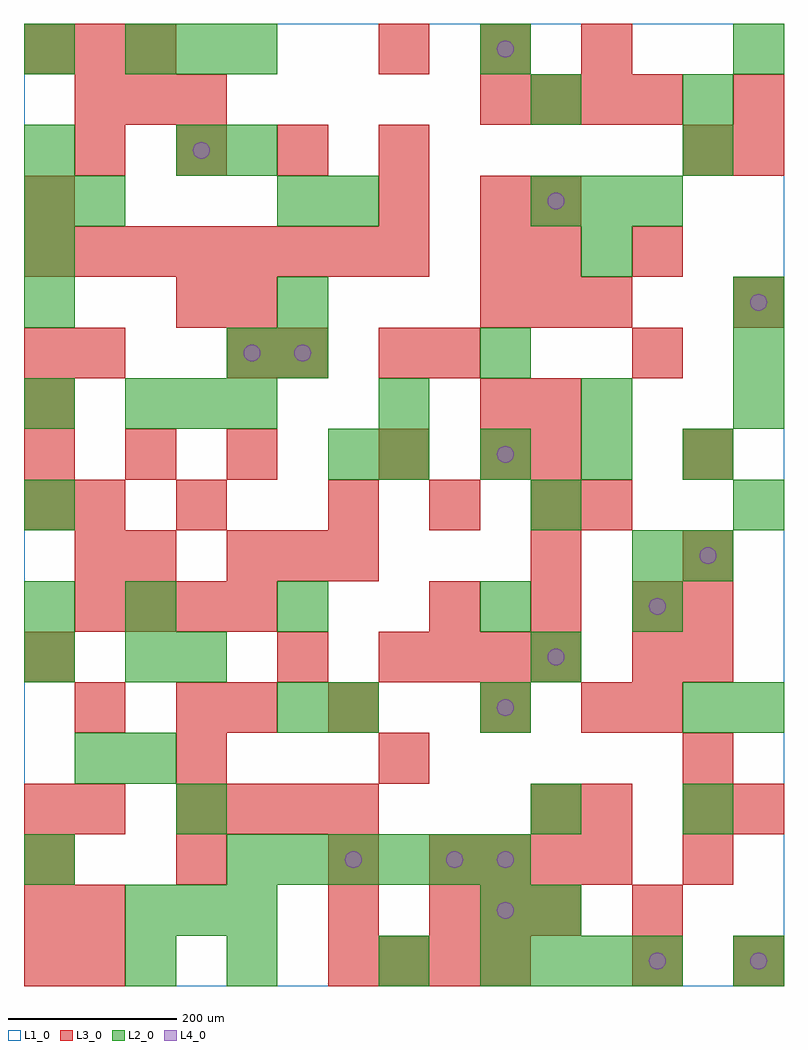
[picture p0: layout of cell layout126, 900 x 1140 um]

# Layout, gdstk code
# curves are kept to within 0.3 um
import gdstk
lib = gdstk.Library(unit=1e-6, precision=1e-09)
def R(c, l, rs):  # rectangles x0, y0, x1, y1
    for r in rs: c.add(gdstk.rectangle(r[:2], r[2:], *l))
def A(c, l, x, y, w, h, nx, ny, dx, dy):  # array of equal rectangles
    R(c, l, [(x+i*dx, y+j*dy, x+i*dx+w, y+j*dy+h) for i in range(nx) for j in range(ny)])
def P(c, l, *ps):  # polygons
    for p in ps: c.add(gdstk.Polygon(p, *l))
L1_0 = (1, 0)
L2_0 = (2, 0)
L3_0 = (3, 0)
L4_0 = (4, 0)

layout126 = lib.new_cell('layout126')
R(layout126, L1_0, [(0,0,900,1140)])
A(layout126, L2_0, 540, 0, 60, 60, 4, 1, 60, 0)
A(layout126, L2_0, 120, 60, 60, 60, 3, 2, 60, 600)
A(layout126, L2_0, 240, 120, 60, 60, 6, 1, 60, 0)
A(layout126, L2_0, 600, 180, 60, 60, 1, 3, 0, 180)
A(layout126, L2_0, 360, 300, 60, 60, 1, 3, 0, 300)
A(layout126, L2_0, 0, 420, 60, 60, 1, 4, 0, 120)
A(layout126, L2_0, 420, 600, 60, 60, 4, 1, 120, 0)
A(layout126, L2_0, 840, 660, 60, 60, 1, 3, 0, 60)
A(layout126, L2_0, 0, 840, 60, 60, 1, 3, 0, 60)
A(layout126, L2_0, 600, 900, 60, 60, 3, 1, 60, 0)
A(layout126, L2_0, 120, 1080, 60, 60, 3, 1, 60, 0)
R(layout126, L2_0, [(120,0,180,60), (240,0,300,60), (420,0,480,60), (840,0,900,60), (540,60,600,120), (600,60,660,120), (0,120,60,180), (180,180,240,240), (780,180,840,240), (60,240,120,300), (120,240,180,300), (300,300,360,360), (540,300,600,360), (780,300,840,360), (840,300,900,360), (0,360,60,420), (120,360,180,420), (180,360,240,420), (120,420,180,480), (300,420,360,480), (540,420,600,480), (720,420,780,480), (720,480,780,540), (780,480,840,540), (840,540,900,600), (420,660,480,720), (660,660,720,720), (240,720,300,780), (300,720,360,780), (540,720,600,780), (300,780,360,840), (660,840,720,900), (60,900,120,960), (300,900,360,960), (180,960,240,1020), (240,960,300,1020), (780,960,840,1020), (600,1020,660,1080), (780,1020,840,1080), (0,1080,60,1140), (540,1080,600,1140), (840,1080,900,1140)])
A(layout126, L3_0, 360, 0, 60, 60, 4, 1, 60, 0)
A(layout126, L3_0, 60, 60, 60, 60, 1, 3, 0, 120)
A(layout126, L3_0, 480, 60, 60, 60, 3, 1, 60, 0)
A(layout126, L3_0, 0, 120, 60, 60, 3, 1, 180, 0)
A(layout126, L3_0, 480, 120, 60, 60, 4, 1, 60, 0)
A(layout126, L3_0, 780, 120, 60, 60, 1, 3, 0, 60)
A(layout126, L3_0, 0, 180, 60, 60, 1, 3, 0, 180)
A(layout126, L3_0, 180, 180, 60, 60, 4, 1, 60, 0)
A(layout126, L3_0, 180, 300, 60, 60, 1, 3, 0, 240)
A(layout126, L3_0, 420, 360, 60, 60, 4, 1, 60, 0)
A(layout126, L3_0, 780, 360, 60, 60, 1, 3, 0, 60)
A(layout126, L3_0, 60, 420, 60, 60, 4, 1, 60, 0)
A(layout126, L3_0, 480, 420, 60, 60, 3, 1, 120, 0)
A(layout126, L3_0, 240, 480, 60, 60, 3, 1, 60, 0)
A(layout126, L3_0, 360, 540, 60, 60, 3, 1, 120, 0)
A(layout126, L3_0, 0, 600, 60, 60, 3, 1, 120, 0)
A(layout126, L3_0, 540, 780, 60, 60, 3, 1, 60, 0)
A(layout126, L3_0, 0, 840, 60, 60, 8, 1, 60, 0)
A(layout126, L3_0, 60, 960, 60, 60, 4, 1, 120, 0)
A(layout126, L3_0, 60, 1020, 60, 60, 3, 1, 60, 0)
A(layout126, L3_0, 540, 1020, 60, 60, 4, 1, 60, 0)
A(layout126, L3_0, 0, 1080, 60, 60, 3, 1, 60, 0)
A(layout126, L3_0, 420, 1080, 60, 60, 3, 1, 120, 0)
R(layout126, L3_0, [(0,0,60,60), (60,0,120,60), (720,0,780,60), (840,0,900,60), (0,60,60,120), (360,60,420,120), (720,60,780,120), (600,180,660,240), (660,180,720,240), (840,180,900,240), (180,240,240,300), (420,240,480,300), (240,300,300,360), (360,300,420,360), (540,300,600,360), (660,300,720,360), (720,300,780,360), (300,360,360,420), (720,360,780,420), (60,480,120,540), (120,480,180,540), (600,480,660,540), (60,540,120,600), (660,540,720,600), (420,600,480,660), (540,600,600,660), (600,600,660,660), (780,600,840,660), (0,660,60,720), (540,660,600,720), (600,660,660,720), (0,720,60,780), (60,720,120,780), (240,720,300,780), (300,720,360,780), (420,720,480,780), (480,720,540,780), (720,720,780,780), (240,780,300,840), (840,780,900,840), (540,840,600,900), (600,840,660,900), (720,840,780,900), (0,900,60,960), (420,900,480,960), (540,900,600,960), (600,900,660,960), (780,960,840,1020), (840,960,900,1020), (840,1020,900,1080)])
P(layout126, L4_0, [(220,990),(219.239,993.827),(217.071,997.071),(213.827,999.239),(210,1000),(206.173,999.239),(202.929,997.071),(200.761,993.827),(200,990),(200.761,986.173),(202.929,982.929),(206.173,980.761),(210,980),(213.827,980.761),(217.071,982.929),(219.239,986.173)],
  [(280,750),(279.239,753.827),(277.071,757.071),(273.827,759.239),(270,760),(266.173,759.239),(262.929,757.071),(260.761,753.827),(260,750),(260.761,746.173),(262.929,742.929),(266.173,740.761),(270,740),(273.827,740.761),(277.071,742.929),(279.239,746.173)],
  [(340,750),(339.239,753.827),(337.071,757.071),(333.827,759.239),(330,760),(326.173,759.239),(322.929,757.071),(320.761,753.827),(320,750),(320.761,746.173),(322.929,742.929),(326.173,740.761),(330,740),(333.827,740.761),(337.071,742.929),(339.239,746.173)],
  [(400,150),(399.239,153.827),(397.071,157.071),(393.827,159.239),(390,160),(386.173,159.239),(382.929,157.071),(380.761,153.827),(380,150),(380.761,146.173),(382.929,142.929),(386.173,140.761),(390,140),(393.827,140.761),(397.071,142.929),(399.239,146.173)],
  [(520,150),(519.239,153.827),(517.071,157.071),(513.827,159.239),(510,160),(506.173,159.239),(502.929,157.071),(500.761,153.827),(500,150),(500.761,146.173),(502.929,142.929),(506.173,140.761),(510,140),(513.827,140.761),(517.071,142.929),(519.239,146.173)],
  [(580,90),(579.239,93.827),(577.071,97.071),(573.827,99.239),(570,100),(566.173,99.239),(562.929,97.071),(560.761,93.827),(560,90),(560.761,86.173),(562.929,82.929),(566.173,80.761),(570,80),(573.827,80.761),(577.071,82.929),(579.239,86.173)],
  [(580,150),(579.239,153.827),(577.071,157.071),(573.827,159.239),(570,160),(566.173,159.239),(562.929,157.071),(560.761,153.827),(560,150),(560.761,146.173),(562.929,142.929),(566.173,140.761),(570,140),(573.827,140.761),(577.071,142.929),(579.239,146.173)],
  [(580,330),(579.239,333.827),(577.071,337.071),(573.827,339.239),(570,340),(566.173,339.239),(562.929,337.071),(560.761,333.827),(560,330),(560.761,326.173),(562.929,322.929),(566.173,320.761),(570,320),(573.827,320.761),(577.071,322.929),(579.239,326.173)],
  [(580,630),(579.239,633.827),(577.071,637.071),(573.827,639.239),(570,640),(566.173,639.239),(562.929,637.071),(560.761,633.827),(560,630),(560.761,626.173),(562.929,622.929),(566.173,620.761),(570,620),(573.827,620.761),(577.071,622.929),(579.239,626.173)],
  [(580,1110),(579.239,1113.827),(577.071,1117.071),(573.827,1119.239),(570,1120),(566.173,1119.239),(562.929,1117.071),(560.761,1113.827),(560,1110),(560.761,1106.173),(562.929,1102.929),(566.173,1100.761),(570,1100),(573.827,1100.761),(577.071,1102.929),(579.239,1106.173)],
  [(640,390),(639.239,393.827),(637.071,397.071),(633.827,399.239),(630,400),(626.173,399.239),(622.929,397.071),(620.761,393.827),(620,390),(620.761,386.173),(622.929,382.929),(626.173,380.761),(630,380),(633.827,380.761),(637.071,382.929),(639.239,386.173)],
  [(640,930),(639.239,933.827),(637.071,937.071),(633.827,939.239),(630,940),(626.173,939.239),(622.929,937.071),(620.761,933.827),(620,930),(620.761,926.173),(622.929,922.929),(626.173,920.761),(630,920),(633.827,920.761),(637.071,922.929),(639.239,926.173)],
  [(760,30),(759.239,33.827),(757.071,37.071),(753.827,39.239),(750,40),(746.173,39.239),(742.929,37.071),(740.761,33.827),(740,30),(740.761,26.173),(742.929,22.929),(746.173,20.761),(750,20),(753.827,20.761),(757.071,22.929),(759.239,26.173)],
  [(760,450),(759.239,453.827),(757.071,457.071),(753.827,459.239),(750,460),(746.173,459.239),(742.929,457.071),(740.761,453.827),(740,450),(740.761,446.173),(742.929,442.929),(746.173,440.761),(750,440),(753.827,440.761),(757.071,442.929),(759.239,446.173)],
  [(820,510),(819.239,513.827),(817.071,517.071),(813.827,519.239),(810,520),(806.173,519.239),(802.929,517.071),(800.761,513.827),(800,510),(800.761,506.173),(802.929,502.929),(806.173,500.761),(810,500),(813.827,500.761),(817.071,502.929),(819.239,506.173)],
  [(880,30),(879.239,33.827),(877.071,37.071),(873.827,39.239),(870,40),(866.173,39.239),(862.929,37.071),(860.761,33.827),(860,30),(860.761,26.173),(862.929,22.929),(866.173,20.761),(870,20),(873.827,20.761),(877.071,22.929),(879.239,26.173)],
  [(880,810),(879.239,813.827),(877.071,817.071),(873.827,819.239),(870,820),(866.173,819.239),(862.929,817.071),(860.761,813.827),(860,810),(860.761,806.173),(862.929,802.929),(866.173,800.761),(870,800),(873.827,800.761),(877.071,802.929),(879.239,806.173)])

lib.write_gds('layout126.gds')
